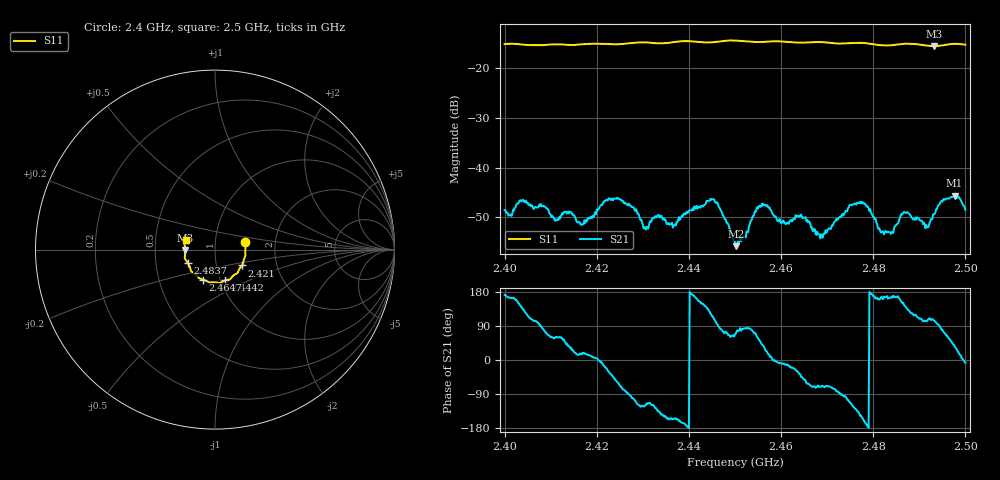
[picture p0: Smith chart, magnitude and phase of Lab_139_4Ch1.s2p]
# Hz S RI R 50
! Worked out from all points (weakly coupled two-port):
!   601 points, 2.4 GHz to 2.5 GHz, reference 50 ohm
!   highest |S21| = -45.62 dB at 2.4977 GHz (marker M1); lowest = -55.8 dB at 2.4502 GHz (marker M2)
!   lowest |S11| = -15.6 dB at 2.4932 GHz (marker M3), VSWR 1.40, Z = 35.8 - j0.1 ohm
!   |S11| at or under -10 dB: start of sweep to end of sweep
!   S12 and S22 are empty: the file has one direction only
!   S11 on the Smith chart (normalised r, x): 2.4 GHz: 1.40, +0.12; 2.421 GHz: 1.33, -0.24; 2.4442 GHz: 1.05, -0.37; 2.4647 GHz: 0.83, -0.29; 2.4837 GHz: 0.73, -0.11; 2.5 GHz: 0.72, +0.08
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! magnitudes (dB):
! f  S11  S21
! 2.4 GHz  -15.2  -48.5
! 2.4042 GHz  -15.3  -46.7
! 2.4167 GHz  -15.3  -51.4
! 2.421 GHz  -15.2  -47.5
! 2.425 GHz  -15.2  -46.3
! 2.4307 GHz  -14.9  -52.5
! 2.4333 GHz  -15.1  -49.6
! 2.437 GHz  -14.8  -51.4
! 2.4442 GHz  -14.9  -46.7
! 2.45 GHz  -14.5  -54.9
! 2.4502 GHz  -14.5  -55.8
! 2.4557 GHz  -14.8  -47.8
! 2.4647 GHz  -14.9  -50.2
! 2.4667 GHz  -14.8  -51.9
! 2.469 GHz  -14.8  -54.1
! 2.4775 GHz  -15.0  -47.2
! 2.4833 GHz  -15.5  -52.9
! 2.4837 GHz  -15.5  -53.0
! 2.4865 GHz  -15.2  -49.1
! 2.4932 GHz  -15.6  -49.4
! 2.4977 GHz  -15.2  -45.6
! 2.5 GHz  -15.3  -48.5
